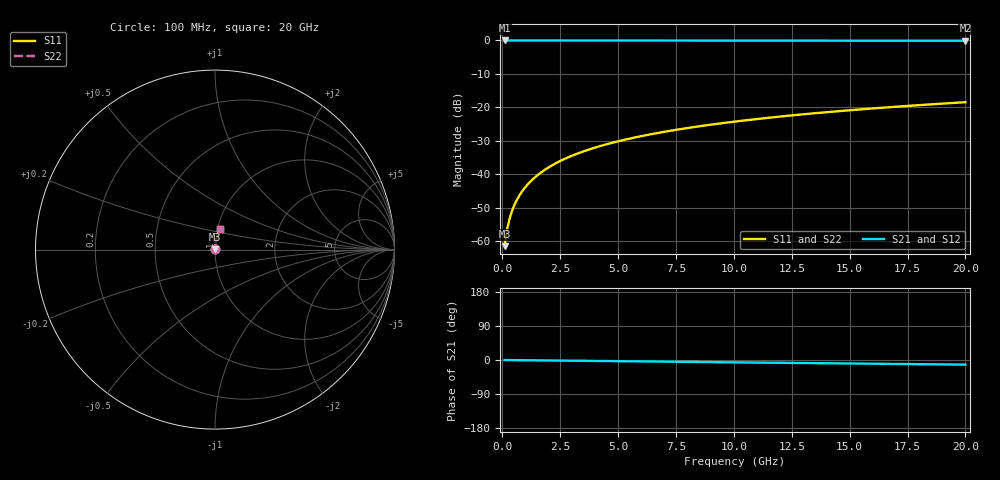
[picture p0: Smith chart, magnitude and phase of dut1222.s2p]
! Touchstone file exported from HFSS 2026.1.0
!  File:  C:/ffzhzh/LocalFiles/Ansys_Project_Files/temp_train_TMRDL_1222_1783163348_51560.aedt
!  Generated:  07:10:16 PM Jul  4, 2026
!  Design:  TMRDL
!  Project:  temp_train_TMRDL_1222_1783163348_51560
! Variables:
!  h_bsmrdl = 2um
!  h_ox = 20um
!  h_rdl = 5um
!  h_sub = 80um
!  h_tmrdl = 5.81um
!  h_tsv = 80um
!  h_via = 3um
!  l_bsmrdl = 300um
!  l_sub = 543.75um
!  l_tmrdl = 143.75um
!  m_sub = 200um
!  pitch = 53.19um
!  r_tsv = 6um
!  s_tmrdl = 10um
!  w_bsmrdl = 18um
!  w_sub = 500um
!  w_tmrdl = 24.79um
!  x_tsv_center1 = 156.145um
!  x_tsv_center2 = 474.145um
!  x_tsv_center3 = 642.685um
!  x_tsv_center4 = 960.685um
!  x_tsv_center5 = 1129.225um
!  x_tsv_center6 = 1447.225um
# GHz S MA R 50.000000
! Terminal data exported
! Port[1] = TM_RDL1_1_T1
! Port[2] = TM_RDL1_1_T2
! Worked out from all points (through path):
!   200 points, 100 MHz to 20 GHz, reference 50 ohm
!   highest |S21| = 0.00 dB at 100 MHz (marker M1); lowest = -0.1 dB at 20 GHz (marker M2)
!   group delay of S21, straight-line fit = 1.69 ps
!   lowest |S11| = -61.4 dB at 100 MHz (marker M3), VSWR 1.00, Z = 50 + j0.0688 ohm
!   |S11| at or under -10 dB: start of sweep to end of sweep
!   |S22| runs from -61.4 to -18.4 dB; largest |S21 - S12| = 2.2e-15
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0.1  0.0008485 54.1  0.9995 -0.1  0.9995 -0.1  0.0008485 54.1
! Gamma 0 0 0 0
! Port Impedance 50 0 50 0
0.2  0.00146 68.7  0.9995 -0.1  0.9995 -0.1  0.00146 68.7
0.3  0.002095 74.1  0.9994 -0.2  0.9994 -0.2  0.002095 74.1
0.4  0.002725 77.0  0.9994 -0.3  0.9994 -0.3  0.002725 77.0
0.5  0.003352 78.8  0.9994 -0.3  0.9994 -0.3  0.003352 78.8
0.7  0.004601 81.1  0.9993 -0.4  0.9993 -0.4  0.004601 81.1
0.8  0.005225 81.8  0.9993 -0.5  0.9993 -0.5  0.005225 81.8
1  0.006475 82.9  0.9992 -0.6  0.9992 -0.6  0.006475 82.9
1.2  0.007727 83.6  0.9992 -0.8  0.9992 -0.8  0.007727 83.6
1.4  0.00898 84.1  0.9992 -0.9  0.9992 -0.9  0.00898 84.1
1.7  0.01086 84.5  0.9991 -1.1  0.9991 -1.1  0.01086 84.5
2  0.01273 84.8  0.999 -1.3  0.999 -1.3  0.01273 84.8
2.7  0.01709 84.9  0.9988 -1.7  0.9988 -1.7  0.01709 84.9
3.5  0.02204 84.8  0.9986 -2.2  0.9986 -2.2  0.02204 84.8
4.2  0.02633 84.5  0.9983 -2.6  0.9983 -2.6  0.02633 84.5
5  0.0312 84.2  0.9981 -3.1  0.9981 -3.1  0.0312 84.2
6.8  0.04207 83.4  0.9974 -4.2  0.9974 -4.2  0.04207 83.4
8.3  0.05106 82.7  0.9967 -5.1  0.9967 -5.1  0.05106 82.7
10.1  0.0618 81.8  0.9959 -6.2  0.9959 -6.2  0.0618 81.8
13.4  0.08134 80.0  0.9942 -8.2  0.9942 -8.2  0.08134 80.0
16.7  0.1007 78.2  0.9922 -10.2  0.9922 -10.2  0.1007 78.2
20  0.1197 76.3  0.9897 -12.2  0.9897 -12.2  0.1197 76.3
